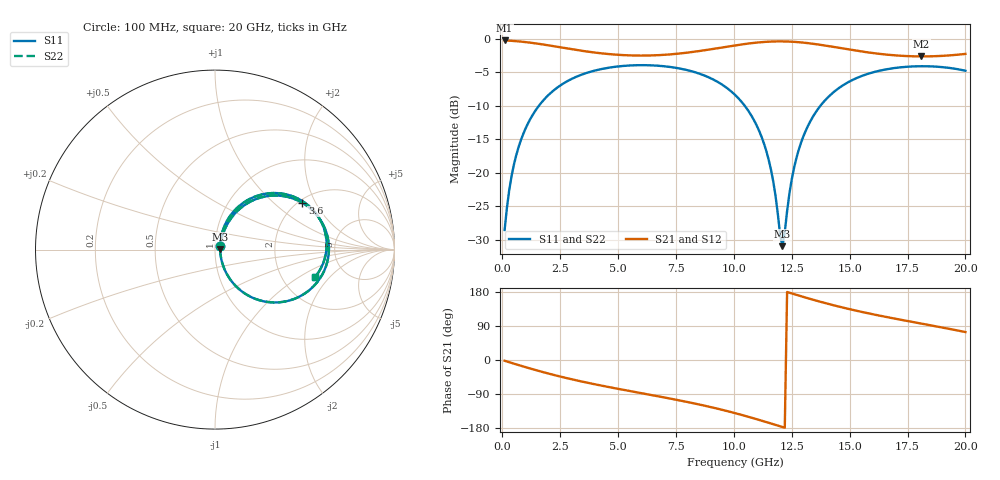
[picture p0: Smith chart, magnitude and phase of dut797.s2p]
! Touchstone file exported from HFSS 2026.1.0
!  File:  C:/ffzhzh/LocalFiles/Ansys_Project_Files/temp_train_TSV_RDL_797_1783262324_38704.aedt
!  Generated:  10:49:52 PM Jul  5, 2026
!  Design:  TSV_RDL
!  Project:  temp_train_TSV_RDL_797_1783262324_38704
! Variables:
!  h_bsmrdl = 3.41um
!  h_ox = 20um
!  h_rdl = 5um
!  h_sub = 50.78um
!  h_tmrdl = 2.25um
!  h_tsv = 50.78um
!  h_via = 3um
!  l_bsmrdl = 894.84um
!  l_sub = 5265.29um
!  l_tmrdl = 512.41um
!  m_sub = 200um
!  pitch = 59.9um
!  r_tsv = 6.26um
!  s_tmrdl = 10um
!  w_bsmrdl = 24.68um
!  w_sub = 500um
!  w_tmrdl = 19.03um
!  x_tsv_center1 = 521.925um
!  x_tsv_center2 = 1441.445um
!  x_tsv_center3 = 1972.885um
!  x_tsv_center4 = 2892.405um
!  x_tsv_center5 = 3423.845um
!  x_tsv_center6 = 4343.365um
# GHz S MA R 50.000000
! Terminal data exported
! Port[1] = TM_RDL1_1_T1
! Port[2] = TM_RDL5_1_T1
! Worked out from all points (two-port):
!   200 points, 100 MHz to 20 GHz, reference 50 ohm
!   highest |S21| = -0.26 dB at 100 MHz (marker M1); lowest = -2.6 dB at 18.1 GHz (marker M2)
!   |S21| within 3 dB of the highest: start of sweep to end of sweep
!   lowest |S11| = -31.0 dB at 12.1 GHz (marker M3), VSWR 1.06, Z = 52.9 + j0.26 ohm
!   |S11| at or under -10 dB: start of sweep to 1.583 GHz; 10.47 GHz to 13.74 GHz (3.274 GHz wide, 27 % of centre)
!   |S22| runs from -30.9 to -3.9 dB; largest |S21 - S12| = 2.1e-14
!   S11 on the Smith chart (normalised r, x): 100 MHz: 1.06, +0.05; 3.6 GHz: 2.10, +1.58; 20 GHz: 3.01, -1.40
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0.1  0.03738 36.1  0.9703 -2.0  0.9703 -2.0  0.03738 36.1
! Gamma 0 0 0 0
! Port Impedance 50 0 50 0
0.3  0.07428 59.4  0.9666 -5.9  0.9666 -5.9  0.07428 59.4
0.5  0.1146 63.9  0.9615 -9.6  0.9615 -9.6  0.1146 63.9
1.1  0.2316 61.0  0.9394 -20.6  0.9394 -20.6  0.2316 61.0
2.1  0.3952 47.8  0.8861 -37.5  0.8861 -37.5  0.3952 47.8
3.5  0.545 29.4  0.8094 -57.7  0.8094 -57.7  0.545 29.4
3.6  0.5525 28.2  0.8048 -59.0  0.8048 -59.0  0.5525 28.2
5.2  0.6257 9.8  0.7547 -78.4  0.7547 -78.4  0.6258 9.8
6.8  0.6272 -7.6  0.7547 -96.5  0.7547 -96.5  0.6272 -7.6
8.7  0.5337 -29.8  0.8181 -120.0  0.8181 -120.0  0.5337 -29.8
10.1  0.3739 -48.9  0.8935 -141.0  0.8935 -141.0  0.3739 -48.8
10.9  0.2411 -59.8  0.9319 -154.7  0.9319 -154.7  0.2412 -59.8
11.4  0.1457 -64.2  0.9479 -163.7  0.9479 -163.7  0.1458 -64.1
11.7  0.08652 -61.8  0.9533 -169.3  0.9533 -169.3  0.08662 -61.6
12.1  0.02832 5.0  0.9548 -176.8  0.9548 -176.8  0.02858 4.9
12.6  0.1087 67.6  0.9474 173.8  0.9474 173.8  0.1087 67.5
12.9  0.1671 67.6  0.9385 168.3  0.9385 168.3  0.1671 67.5
13.4  0.2591 62.4  0.9175 159.4  0.9175 159.4  0.2591 62.3
14.9  0.4697 42.0  0.8348 135.5  0.8348 135.5  0.4697 42.0
16.7  0.5957 20.3  0.7578 112.1  0.7578 112.1  0.5957 20.3
18.1  0.6233 5.1  0.7376 96.0  0.7376 96.0  0.6233 5.1
20  0.5767 -15.6  0.7702 73.8  0.7702 73.8  0.5768 -15.6
